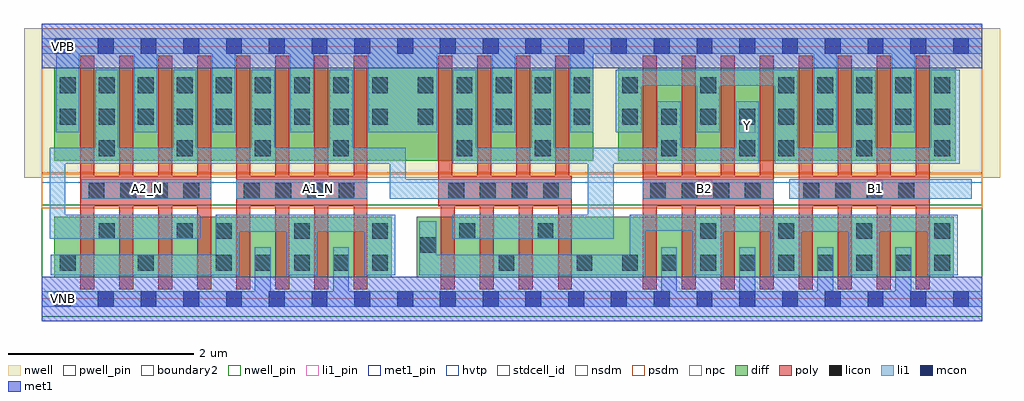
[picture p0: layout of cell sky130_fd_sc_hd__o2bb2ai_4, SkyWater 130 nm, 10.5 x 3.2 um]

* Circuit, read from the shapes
.subckt sky130_fd_sc_hd__o2bb2ai_4 A1_N A2_N B1 B2 VGND VNB VPB VPWR Y
XM1 n1 A2_N n2 VNB sky130_fd_pr__nfet_01v8 w=0.65 l=0.15 m=4
XM2 VGND A1_N n2 VNB sky130_fd_pr__nfet_01v8 w=0.65 l=0.15 m=4
XM3 Y n1 n3 VNB sky130_fd_pr__nfet_01v8 w=0.65 l=0.15 m=4
XM4 VGND B2 n3 VNB sky130_fd_pr__nfet_01v8 w=0.65 l=0.15 m=4
XM5 VGND B1 n3 VNB sky130_fd_pr__nfet_01v8 w=0.65 l=0.15 m=4
XM6 n1 A2_N VPWR VPB sky130_fd_pr__pfet_01v8_hvt w=1 l=0.15 m=4
XM7 n1 A1_N VPWR VPB sky130_fd_pr__pfet_01v8_hvt w=1 l=0.15 m=4
XM8 Y n1 VPWR VPB sky130_fd_pr__pfet_01v8_hvt w=1 l=0.15 m=4
XM9 Y B2 n4 VPB sky130_fd_pr__pfet_01v8_hvt w=1 l=0.15 m=4
XM10 VPWR B1 n4 VPB sky130_fd_pr__pfet_01v8_hvt w=1 l=0.15 m=4
.ends

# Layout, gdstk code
import gdstk
lib = gdstk.Library(unit=1e-6, precision=1e-09)
def R(c, l, rs):  # rectangles x0, y0, x1, y1
    for r in rs: c.add(gdstk.rectangle(r[:2], r[2:], *l))
def A(c, l, x, y, w, h, nx, ny, dx, dy):  # array of equal rectangles
    R(c, l, [(x+i*dx, y+j*dy, x+i*dx+w, y+j*dy+h) for i in range(nx) for j in range(ny)])
def P(c, l, *ps):  # polygons
    for p in ps: c.add(gdstk.Polygon(p, *l))
nwell_pin = (64, 16)
nwell = (64, 20)
diff = (65, 20)
poly = (66, 20)
licon = (66, 44)
li1_pin = (67, 16)
li1 = (67, 20)
mcon = (67, 44)
met1_pin = (68, 16)
met1 = (68, 20)
hvtp = (78, 44)
stdcell_id = (81, 4)
nsdm = (93, 44)
psdm = (94, 20)
npc = (95, 20)
pwell_pin = (122, 16)
boundary2 = (236, 0)

sky130_fd_sc_hd__o2bb2ai = lib.new_cell('sky130_fd_sc_hd__o2bb2ai_4')
R(sky130_fd_sc_hd__o2bb2ai, nwell_pin, [(0.135,2.635,0.305,2.805)])
R(sky130_fd_sc_hd__o2bb2ai, nwell, [(-0.19,1.305,10.31,2.91)])
R(sky130_fd_sc_hd__o2bb2ai, diff, [(0.135,0.235,3.765,0.885), (4.035,0.235,9.815,0.885), (0.135,1.485,5.935,2.485), (6.205,1.485,9.835,2.485)])
P(sky130_fd_sc_hd__o2bb2ai, poly, [(3.505,2.615),(3.355,2.615),(3.355,1.325),(3.085,1.325),(3.085,2.615),(2.935,2.615),(2.935,1.325),(2.665,1.325),(2.665,2.615),(2.515,2.615),(2.515,1.325),(2.245,1.325),(2.245,2.615),(2.095,2.615),(2.095,0.105),(2.245,0.105),(2.245,0.995),(2.515,0.995),(2.515,0.105),(2.665,0.105),(2.665,0.995),(2.935,0.995),(2.935,0.105),(3.085,0.105),(3.085,0.995),(3.355,0.995),(3.355,0.105),(3.505,0.105)],
  [(7.875,2.615),(7.725,2.615),(7.725,1.325),(7.455,1.325),(7.455,2.615),(7.305,2.615),(7.305,1.325),(7.035,1.325),(7.035,2.615),(6.885,2.615),(6.885,1.325),(6.615,1.325),(6.615,2.615),(6.465,2.615),(6.465,0.105),(6.615,0.105),(6.615,0.995),(6.885,0.995),(6.885,0.105),(7.035,0.105),(7.035,0.995),(7.305,0.995),(7.305,0.105),(7.455,0.105),(7.455,0.995),(7.725,0.995),(7.725,0.105),(7.875,0.105)],
  [(9.555,2.615),(9.405,2.615),(9.405,1.325),(9.135,1.325),(9.135,2.615),(8.985,2.615),(8.985,1.325),(8.715,1.325),(8.715,2.615),(8.565,2.615),(8.565,1.325),(8.295,1.325),(8.295,2.615),(8.145,2.615),(8.145,0.105),(8.295,0.105),(8.295,0.995),(8.565,0.995),(8.565,0.105),(8.715,0.105),(8.715,0.995),(8.985,0.995),(8.985,0.105),(9.135,0.105),(9.135,0.995),(9.405,0.995),(9.405,0.105),(9.555,0.105)],
  [(1.825,2.615),(1.675,2.615),(1.675,1.325),(1.405,1.325),(1.405,2.615),(1.255,2.615),(1.255,1.325),(0.985,1.325),(0.985,2.615),(0.835,2.615),(0.835,1.325),(0.565,1.325),(0.565,2.615),(0.415,2.615),(0.415,0.105),(0.565,0.105),(0.565,0.995),(0.835,0.995),(0.835,0.105),(0.985,0.105),(0.985,0.995),(1.255,0.995),(1.255,0.105),(1.405,0.105),(1.405,0.995),(1.675,0.995),(1.675,0.105),(1.825,0.105)],
  [(5.705,1.325),(5.675,1.325),(5.675,2.615),(5.525,2.615),(5.525,1.325),(5.255,1.325),(5.255,2.615),(5.105,2.615),(5.105,1.325),(4.835,1.325),(4.835,2.615),(4.685,2.615),(4.685,1.325),(4.415,1.325),(4.415,2.615),(4.265,2.615),(4.265,0.995),(4.295,0.995),(4.295,0.105),(4.445,0.105),(4.445,0.995),(4.715,0.995),(4.715,0.105),(4.865,0.105),(4.865,0.995),(5.135,0.995),(5.135,0.105),(5.285,0.105),(5.285,0.995),(5.555,0.995),(5.555,0.105),(5.705,0.105)])
A(sky130_fd_sc_hd__o2bb2ai, licon, 0.195, 0.305, 0.17, 0.17, 3, 1, 0.84, 0)
A(sky130_fd_sc_hd__o2bb2ai, licon, 2.295, 0.305, 0.17, 0.17, 4, 1, 0.42, 0)
A(sky130_fd_sc_hd__o2bb2ai, licon, 6.245, 0.305, 0.17, 0.17, 9, 2, 0.42, 1.57)
A(sky130_fd_sc_hd__o2bb2ai, licon, 1.875, 0.645, 0.17, 0.17, 3, 1, 0.84, 0)
A(sky130_fd_sc_hd__o2bb2ai, licon, 7.085, 0.645, 0.17, 0.17, 4, 1, 0.84, 0)
A(sky130_fd_sc_hd__o2bb2ai, licon, 0.505, 1.075, 0.17, 0.17, 4, 1, 0.34, 0)
A(sky130_fd_sc_hd__o2bb2ai, licon, 2.175, 1.075, 0.17, 0.17, 4, 1, 0.34, 0)
A(sky130_fd_sc_hd__o2bb2ai, licon, 4.375, 1.075, 0.17, 0.17, 4, 1, 0.34, 0)
A(sky130_fd_sc_hd__o2bb2ai, licon, 6.545, 1.075, 0.17, 0.17, 4, 1, 0.34, 0)
A(sky130_fd_sc_hd__o2bb2ai, licon, 8.195, 1.075, 0.17, 0.17, 4, 1, 0.34, 0)
A(sky130_fd_sc_hd__o2bb2ai, licon, 0.615, 1.535, 0.17, 0.17, 4, 1, 0.84, 0)
A(sky130_fd_sc_hd__o2bb2ai, licon, 7.925, 1.535, 0.17, 0.17, 3, 1, 0.84, 0)
A(sky130_fd_sc_hd__o2bb2ai, licon, 0.195, 1.875, 0.17, 0.17, 9, 2, 0.42, 0.34)
A(sky130_fd_sc_hd__o2bb2ai, licon, 4.045, 1.875, 0.17, 0.17, 5, 2, 0.42, 0.34)
A(sky130_fd_sc_hd__o2bb2ai, licon, 6.245, 2.215, 0.17, 0.17, 3, 1, 0.84, 0)
A(sky130_fd_sc_hd__o2bb2ai, licon, 8.345, 2.215, 0.17, 0.17, 4, 1, 0.42, 0)
R(sky130_fd_sc_hd__o2bb2ai, licon, [(4.915,0.305,5.085,0.475), (5.755,0.305,5.925,0.475), (4.075,0.495,4.245,0.665), (0.615,0.645,0.785,0.815), (1.455,0.645,1.625,0.815), (4.495,0.645,4.665,0.815), (5.335,0.645,5.505,0.815), (4.465,1.535,4.635,1.705), (5.305,1.535,5.475,1.705), (6.665,1.535,6.835,1.705), (7.505,1.535,7.675,1.705)])
R(sky130_fd_sc_hd__o2bb2ai, li1_pin, [(1.055,1.105,1.225,1.275), (2.895,1.105,3.065,1.275), (7.045,1.105,7.215,1.275), (8.885,1.105,9.055,1.275), (7.505,1.785,7.675,1.955)])
R(sky130_fd_sc_hd__o2bb2ai, li1, [(0.425,1.075,1.825,1.285), (2.095,1.075,3.505,1.285), (6.465,1.075,7.875,1.285), (8.045,1.075,10.005,1.285)])
P(sky130_fd_sc_hd__o2bb2ai, li1, [(10.12,0.085),(9.355,0.085),(9.355,0.555),(9.185,0.555),(9.185,0.085),(8.515,0.085),(8.515,0.555),(8.345,0.555),(8.345,0.085),(7.675,0.085),(7.675,0.555),(7.505,0.555),(7.505,0.085),(6.835,0.085),(6.835,0.555),(6.665,0.555),(6.665,0.085),(3.305,0.085),(3.305,0.555),(3.135,0.555),(3.135,0.085),(2.465,0.085),(2.465,0.555),(2.295,0.555),(2.295,0.085),(0,0.085),(0,-0.085),(10.12,-0.085)],
  [(10.12,2.805),(0,2.805),(0,2.635),(0.155,2.635),(0.155,1.795),(0.405,1.795),(0.405,2.635),(0.995,2.635),(0.995,1.795),(1.245,1.795),(1.245,2.635),(1.835,2.635),(1.835,1.795),(2.085,1.795),(2.085,2.635),(2.675,2.635),(2.675,1.795),(2.925,1.795),(2.925,2.635),(3.515,2.635),(3.515,1.795),(4.255,1.795),(4.255,2.635),(4.845,2.635),(4.845,1.795),(5.095,1.795),(5.095,2.635),(5.685,2.635),(5.685,1.795),(5.935,1.795),(5.935,2.635),(8.305,2.635),(8.305,1.795),(8.555,1.795),(8.555,2.635),(9.145,2.635),(9.145,1.795),(9.395,1.795),(9.395,2.635),(10.12,2.635)],
  [(3.805,0.905),(1.875,0.905),(1.875,0.475),(0.1,0.475),(0.1,0.255),(2.125,0.255),(2.125,0.725),(2.635,0.725),(2.635,0.255),(2.965,0.255),(2.965,0.725),(3.475,0.725),(3.475,0.255),(3.805,0.255)],
  [(5.705,1.285),(3.915,1.285),(3.915,1.625),(3.345,1.625),(3.345,2.465),(3.095,2.465),(3.095,1.625),(2.505,1.625),(2.505,2.465),(2.255,2.465),(2.255,1.625),(1.665,1.625),(1.665,2.465),(1.415,2.465),(1.415,1.625),(0.825,1.625),(0.825,2.465),(0.575,2.465),(0.575,1.625),(0.085,1.625),(0.085,0.645),(1.705,0.645),(1.705,0.905),(0.255,0.905),(0.255,1.455),(3.745,1.455),(3.745,1.075),(5.705,1.075)],
  [(7.715,2.125),(7.465,2.125),(7.465,1.625),(6.875,1.625),(6.875,2.125),(6.625,2.125),(6.625,1.625),(5.515,1.625),(5.515,2.465),(5.265,2.465),(5.265,1.625),(4.675,1.625),(4.675,2.465),(4.425,2.465),(4.425,1.455),(5.875,1.455),(5.875,0.905),(4.415,0.905),(4.415,0.645),(6.155,0.645),(6.155,1.455),(7.715,1.455)],
  [(9.855,0.905),(6.325,0.905),(6.325,0.475),(4.245,0.475),(4.245,0.835),(4.06,0.835),(4.06,0.255),(6.495,0.255),(6.495,0.735),(7.005,0.735),(7.005,0.255),(7.335,0.255),(7.335,0.725),(7.845,0.725),(7.845,0.255),(8.175,0.255),(8.175,0.725),(8.685,0.725),(8.685,0.255),(9.015,0.255),(9.015,0.725),(9.525,0.725),(9.525,0.255),(9.855,0.255)],
  [(9.875,2.465),(9.565,2.465),(9.565,1.625),(8.975,1.625),(8.975,2.465),(8.725,2.465),(8.725,1.625),(8.135,1.625),(8.135,2.465),(6.175,2.465),(6.175,1.795),(6.455,1.795),(6.455,2.295),(7.045,2.295),(7.045,1.795),(7.295,1.795),(7.295,2.295),(7.885,2.295),(7.885,1.455),(9.875,1.455)])
A(sky130_fd_sc_hd__o2bb2ai, mcon, 0.145, -0.085, 0.17, 0.17, 22, 2, 0.46, 2.72)
R(sky130_fd_sc_hd__o2bb2ai, met1_pin, [(0.135,-0.085,0.305,0.085), (0.135,2.635,0.305,2.805)])
R(sky130_fd_sc_hd__o2bb2ai, hvtp, [(0,1.25,10.12,2.72)])
R(sky130_fd_sc_hd__o2bb2ai, stdcell_id, [(0,0,10.12,2.72)])
R(sky130_fd_sc_hd__o2bb2ai, nsdm, [(0,-0.19,10.12,1.015)])
R(sky130_fd_sc_hd__o2bb2ai, psdm, [(0,1.355,10.12,2.91)])
R(sky130_fd_sc_hd__o2bb2ai, npc, [(0,0.975,10.12,1.345)])
R(sky130_fd_sc_hd__o2bb2ai, pwell_pin, [(0.135,-0.085,0.305,0.085)])
R(sky130_fd_sc_hd__o2bb2ai, boundary2, [(0,0,10.12,2.72)])
sky130_fd_sc_hd__o2bb2ai.add(gdstk.FlexPath([(0,2.72),(10.12,2.72)], 0.48, ends="flush", simple_path=True, layer=68, datatype=20))  # met1
sky130_fd_sc_hd__o2bb2ai.add(gdstk.FlexPath([(0,0),(10.12,0)], 0.48, ends="flush", simple_path=True, layer=68, datatype=20))  # met1
sky130_fd_sc_hd__o2bb2ai.add(gdstk.Label('A1_N', (2.98,1.19), layer=67, texttype=5))
sky130_fd_sc_hd__o2bb2ai.add(gdstk.Label('B1', (8.97,1.19), layer=67, texttype=5))
sky130_fd_sc_hd__o2bb2ai.add(gdstk.Label('B2', (7.13,1.19), layer=67, texttype=5))
sky130_fd_sc_hd__o2bb2ai.add(gdstk.Label('A2_N', (1.14,1.19), layer=67, texttype=5))
sky130_fd_sc_hd__o2bb2ai.add(gdstk.Label('Y', (7.59,1.87), layer=67, texttype=5))
sky130_fd_sc_hd__o2bb2ai.add(gdstk.Label('VPB', (0.23,2.72), layer=64, texttype=5))
sky130_fd_sc_hd__o2bb2ai.add(gdstk.Label('VNB', (0.23,0), layer=64, texttype=59))
sky130_fd_sc_hd__o2bb2ai.add(gdstk.Label('VGND', (0.23,0), layer=68, texttype=5))
sky130_fd_sc_hd__o2bb2ai.add(gdstk.Label('VPWR', (0.23,2.72), layer=68, texttype=5))
sky130_fd_sc_hd__o2bb2ai.add(gdstk.Label('o2bb2ai_4', (0,0), layer=83, texttype=44))

lib.write_gds('sky130_fd_sc_hd__o2bb2ai_4.gds')
